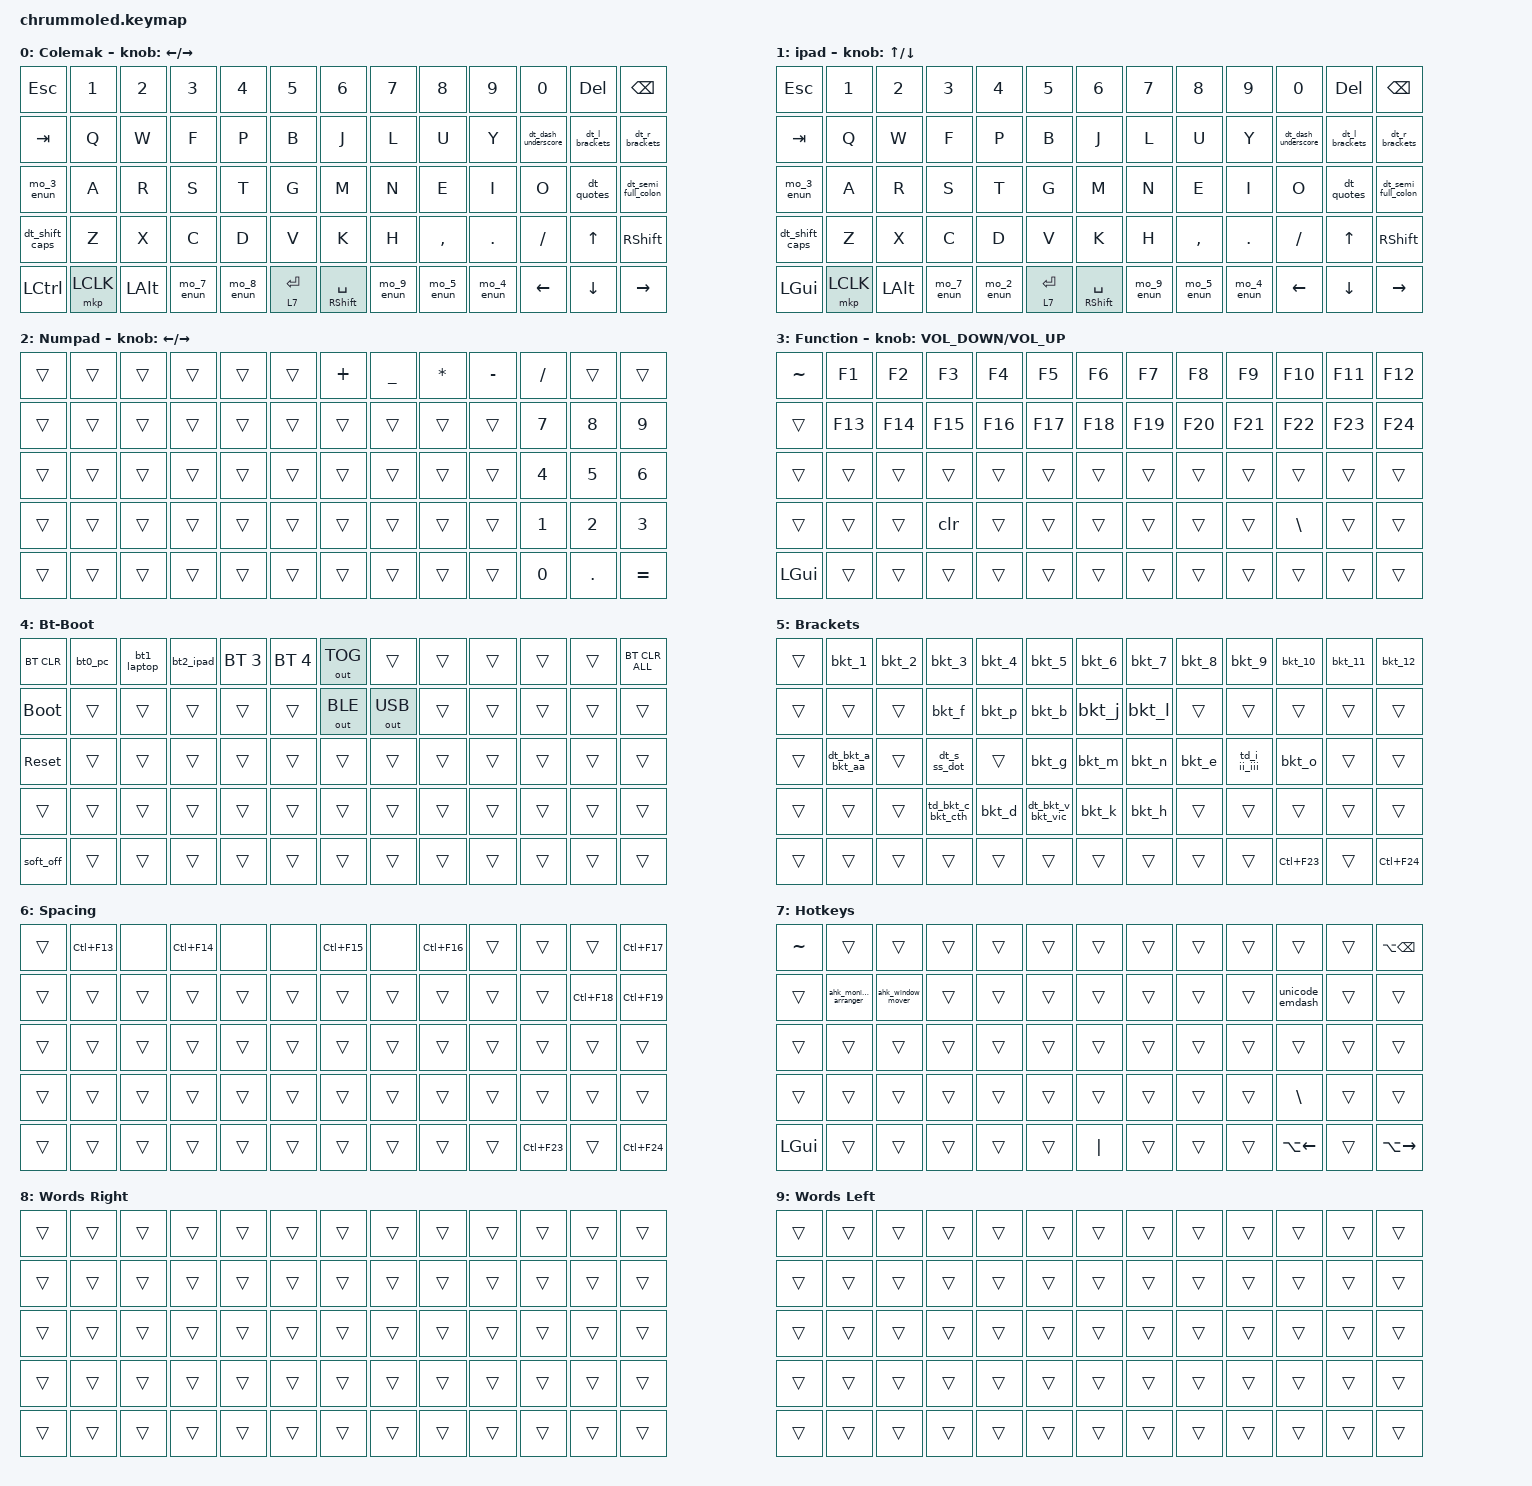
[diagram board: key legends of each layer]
/*
 * Copyright (c) 2021 The ZMK Contributors
 *
 * SPDX-License-Identifier: MIT
 */

#include <behaviors.dtsi>
#include <dt-bindings/zmk/bt.h>
#include <dt-bindings/zmk/keys.h>
#include <dt-bindings/zmk/outputs.h>
#include <dt-bindings/zmk/pointing.h>

/ {
    behaviors {
        dt_s_ss_dot: ss {
            compatible = "zmk,behavior-tap-dance";
            #binding-cells = <0>;
            tapping-term-ms = <200>;
            label = "td_s_ss_dot";
            bindings = <&s_dot>, <&ss_dot>;
        };

        rot_kp: sensor_rotate_kp {
            compatible = "zmk,behavior-sensor-rotate-var";
            #sensor-binding-cells = <2>;
            bindings = <&kp>, <&kp>;
        };

        hold_2_mo_kp: hold_2_mo_kp {
            compatible = "zmk,behavior-hold-tap";
            label = "HOLD_2_MO_KP";
            #binding-cells = <2>;
            bindings = <&mo>, <&kp>;

            tapping-term-ms = <250>;
            flavor = "tap-preferred";
        };

        del_backspace: del_backspace {
            compatible = "zmk,behavior-mod-morph";
            label = "DEL_BACKSPACE";
            bindings = <&kp DELETE>, <&kp BACKSPACE>;

            #binding-cells = <0>;
            mods = <(MOD_LSFT)>;
        };

        hold_3_mo_tl: hold_3_mo_tl {
            compatible = "zmk,behavior-hold-tap";
            label = "HOLD_3_MO_TL";
            #binding-cells = <2>;
            bindings = <&mo>, <&tog>;

            tapping-term-ms = <250>;
            flavor = "tap-preferred";
        };

        td_i_ii_iii: td_i_ii_iii {
            compatible = "zmk,behavior-tap-dance";
            #binding-cells = <0>;
            tapping-term-ms = <200>;
            label = "TD_I_II_III";
            bindings =
                <&bkt_i>,
                <&bkt_ii>,
                <&bkt_iii>,
                <&bkt_iv>,
                <&bkt_v_roman>,
                <&bkt_vi>;
        };

        hold_1_kp_kp: hold_1_kp_kp {
            compatible = "zmk,behavior-hold-tap";
            label = "HOLD_1_KP_KP";
            #binding-cells = <2>;
            bindings = <&kp>, <&kp>;

            tapping-term-ms = <300>;
            flavor = "tap-preferred";
        };

        hold_space_shift: hold_space_shift {
            compatible = "zmk,behavior-hold-tap";
            label = "HOLD_SPACE_SHIFT";
            #binding-cells = <2>;
            bindings = <&kp>, <&kp>;

            tapping-term-ms = <200>;
            quick-tap-ms = <0>;      /* ← this is the fix */
            flavor = "hold-preferred";
        };

        hold_enter_hotkey: hold_enter_hotkey {
            compatible = "zmk,behavior-hold-tap";
            label = "HOLD_ENTER_HOTKEY";
            #binding-cells = <2>;

            /* Hold = momentary layer, Tap = key press */

            bindings = <&mo>, <&kp>;

            flavor = "tap-preferred";
            tapping-term-ms = <220>;
            require-prior-idle-ms = <125>;
        };

        dt_quotes: dt_quotes {
            compatible = "zmk,behavior-tap-dance";
            label = "DT_QUOTES";
            #binding-cells = <0>;
            bindings = <&kp SINGLE_QUOTE>, <&kp DOUBLE_QUOTES>;
        };

        dt_dash_underscore: dt_dash_underscore {
            compatible = "zmk,behavior-tap-dance";
            label = "DT_DASH_UNDERSCORE";
            #binding-cells = <0>;
            bindings = <&kp KP_MINUS>, <&kp UNDER>;
        };

        dt_l_brackets: dt_l_brackets {
            compatible = "zmk,behavior-tap-dance";
            label = "DT_L_BRACKETS";
            #binding-cells = <0>;
            bindings = <&kp LEFT_PARENTHESIS>, <&kp LBKT>, <&kp LEFT_BRACE>;

            tapping-term-ms = <200>;
        };

        dt_shift_caps: dt_shift_caps {
            compatible = "zmk,behavior-tap-dance";
            label = "DT_SHIFT_CAPS";
            #binding-cells = <0>;
            bindings = <&sk LEFT_SHIFT>, <&kp CAPS>;
        };

        dt_semi_full_colon: dt_semi_full_colon {
            compatible = "zmk,behavior-tap-dance";
            label = "DT_SEMI_FULL_COLON";
            #binding-cells = <0>;
            bindings = <&kp SEMI>, <&kp COLON>;
        };

        dt_6_dash: dt_6_dash {
            compatible = "zmk,behavior-tap-dance";
            label = "DT_6_DASH";
            #binding-cells = <0>;
            bindings = <&kp NUMBER_6>, <&kp MINUS>;

            tapping-term-ms = <160>;
        };

        dt_1_fslash: dt_1_fslash {
            compatible = "zmk,behavior-tap-dance";
            label = "DT_1_FSLASH";
            #binding-cells = <0>;
            bindings = <&kp NUMBER_1>, <&kp SLASH>;

            tapping-term-ms = <160>;
        };

        dt_r_brackets: dt_r_brackets {
            compatible = "zmk,behavior-tap-dance";
            label = "DT_R_BRACKETS";
            #binding-cells = <0>;
            bindings =
                <&kp RIGHT_PARENTHESIS>,
                <&kp RIGHT_BRACKET>,
                <&kp RIGHT_BRACE>;

            tapping-term-ms = <200>;
        };

        td_bkt_c_bkt_cth: td_bkt_c_bkt_cth {
            compatible = "zmk,behavior-tap-dance";
            label = "TD_BKT_C_BKT_CTH";
            #binding-cells = <0>;
            bindings = <&bkt_c>, <&bkt_Cth>;
        };

        dt_bkt_v_bkt_vic: dt_bkt_v_bkt_vic {
            compatible = "zmk,behavior-tap-dance";
            label = "DT_BKT_V_BKT_VIC";
            #binding-cells = <0>;
            bindings = <&bkt_v_roman>, <&bkt_Vic>;
        };

        hold_caps_shift: hold_caps_shift {
            compatible = "zmk,behavior-hold-tap";
            label = "HOLD_CAPS_SHIFT";
            #binding-cells = <2>;
            bindings = <&kp>, <&sk>;

            tapping-term-ms = <250>;
            flavor = "tap-preferred";
        };

        dt_bkt_a_bkt_aa: dt_bkt_a_bkt_aa {
            compatible = "zmk,behavior-tap-dance";
            #binding-cells = <0>;
            tapping-term-ms = <200>;
            label = "DT_BKT_A_BKT_AA";
            bindings = <&bkt_a>, <&bkt_aa>;
        };
    };

    macros {
        s_dot: s_dot {
            compatible = "zmk,behavior-macro";
            #binding-cells = <0>;
            bindings = <&none &kp S &kp SPACE>;
            label = "SS";
        };

        ss_dot: ss_dot {
            compatible = "zmk,behavior-macro";
            #binding-cells = <0>;
            bindings = <&none &kp S &kp S &kp SPACE>;
            label = "S_DOT";
        };

        bkt_1: bkt_1 {
            compatible = "zmk,behavior-macro";
            #binding-cells = <0>;
            bindings = <&none &kp LEFT_PARENTHESIS &kp NUMBER_1 &kp RIGHT_PARENTHESIS>;
            label = "BKT_1";
        };

        bkt_2: bkt_2 {
            compatible = "zmk,behavior-macro";
            #binding-cells = <0>;
            bindings = <&none &kp LEFT_PARENTHESIS &kp NUMBER_2 &kp RIGHT_PARENTHESIS>;
            label = "BKT_2";
        };

        bkt_3: bkt_3 {
            compatible = "zmk,behavior-macro";
            #binding-cells = <0>;
            bindings = <&none &kp LEFT_PARENTHESIS &kp NUMBER_3 &kp RIGHT_PARENTHESIS>;
            label = "BKT_3";
        };

        bkt_4: bkt_4 {
            compatible = "zmk,behavior-macro";
            #binding-cells = <0>;
            bindings = <&none &kp LEFT_PARENTHESIS &kp NUMBER_4 &kp RIGHT_PARENTHESIS>;
            label = "BKT_4";
        };

        bkt_5: bkt_5 {
            compatible = "zmk,behavior-macro";
            #binding-cells = <0>;
            bindings = <&none &kp LEFT_PARENTHESIS &kp N5 &kp RIGHT_PARENTHESIS>;
            label = "BKT_5";
        };

        bkt_6: bkt_6 {
            compatible = "zmk,behavior-macro";
            #binding-cells = <0>;
            bindings = <&none &kp LEFT_PARENTHESIS &kp NUMBER_6 &kp RIGHT_PARENTHESIS>;
            label = "BKT_6";
        };

        bkt_7: bkt_7 {
            compatible = "zmk,behavior-macro";
            #binding-cells = <0>;
            bindings = <&none &kp LEFT_PARENTHESIS &kp N7 &kp RIGHT_PARENTHESIS>;
            label = "BKT_7";
        };

        bkt_8: bkt_8 {
            compatible = "zmk,behavior-macro";
            #binding-cells = <0>;
            bindings = <&none &kp LEFT_PARENTHESIS &kp NUMBER_8 &kp RIGHT_PARENTHESIS &kp SPACE>;
            label = "BKT_8";
        };

        bkt_9: bkt_9 {
            compatible = "zmk,behavior-macro";
            #binding-cells = <0>;
            bindings = <&none &kp LEFT_PARENTHESIS &kp N9 &kp RIGHT_PARENTHESIS>;
            label = "BKT_9";
        };

        bkt_10: bkt_10 {
            compatible = "zmk,behavior-macro";
            #binding-cells = <0>;
            bindings = <&none &kp LEFT_PARENTHESIS &kp NUMBER_1 &kp N0 &kp RIGHT_PARENTHESIS>;
            label = "BKT_10";
        };

        bkt_11: bkt_11 {
            compatible = "zmk,behavior-macro";
            #binding-cells = <0>;
            bindings = <&none &kp LEFT_PARENTHESIS &kp NUMBER_1 &kp NUMBER_1 &kp RIGHT_PARENTHESIS>;
            label = "BKT_11";
        };

        bkt_12: bkt_12 {
            compatible = "zmk,behavior-macro";
            #binding-cells = <0>;
            bindings = <&none &kp LEFT_PARENTHESIS &kp NUMBER_1 &kp NUMBER_2 &kp RIGHT_PARENTHESIS>;
            label = "BKT_12";
        };

        bkt_a: bkt_a {
            compatible = "zmk,behavior-macro";
            #binding-cells = <0>;
            bindings = <&none &kp LEFT_PARENTHESIS &kp A &kp RIGHT_PARENTHESIS>;
            label = "BKT_A";
        };

        bkt_b: bkt_b {
            compatible = "zmk,behavior-macro";
            #binding-cells = <0>;
            bindings = <&none &kp LEFT_PARENTHESIS &kp B &kp RIGHT_PARENTHESIS>;
            label = "BKT_B";
        };

        bkt_c: bkt_c {
            compatible = "zmk,behavior-macro";
            #binding-cells = <0>;
            bindings = <&none &kp LEFT_PARENTHESIS &kp C &kp RIGHT_PARENTHESIS>;
            label = "BKT_C";
        };

        bkt_d: bkt_d {
            compatible = "zmk,behavior-macro";
            #binding-cells = <0>;
            bindings = <&none &kp LEFT_PARENTHESIS &kp D &kp RIGHT_PARENTHESIS>;
            label = "BKT_D";
        };

        bkt_e: bkt_e {
            compatible = "zmk,behavior-macro";
            #binding-cells = <0>;
            bindings = <&none &kp LEFT_PARENTHESIS &kp E &kp RIGHT_PARENTHESIS>;
            label = "BKT_E";
        };

        bkt_f: bkt_f {
            compatible = "zmk,behavior-macro";
            #binding-cells = <0>;
            bindings = <&none &kp LEFT_PARENTHESIS &kp F &kp RIGHT_PARENTHESIS>;
            label = "BKT_F";
        };

        bkt_g: bkt_g {
            compatible = "zmk,behavior-macro";
            #binding-cells = <0>;
            bindings = <&none &kp LEFT_PARENTHESIS &kp G &kp RIGHT_PARENTHESIS>;
            label = "BKT_G";
        };

        bkt_h: bkt_h {
            compatible = "zmk,behavior-macro";
            #binding-cells = <0>;
            bindings = <&none &kp LEFT_PARENTHESIS &kp H &kp RIGHT_PARENTHESIS>;
            label = "BKT_H";
        };

        bkt_i: bkt_i {
            compatible = "zmk,behavior-macro";
            #binding-cells = <0>;
            bindings = <&none &kp LEFT_PARENTHESIS &kp I &kp RIGHT_PARENTHESIS>;
            label = "BKT_I";
        };

        bkt_ii: bkt_ii {
            compatible = "zmk,behavior-macro";
            #binding-cells = <0>;
            bindings = <&none &kp LEFT_PARENTHESIS &kp I &kp I &kp RIGHT_PARENTHESIS>;
            label = "BKT_II";
        };

        bkt_iii: bkt_iii {
            compatible = "zmk,behavior-macro";
            #binding-cells = <0>;
            bindings = <&none &kp LEFT_PARENTHESIS &kp I &kp I &kp I &kp RIGHT_PARENTHESIS>;
            label = "BKT_III";
        };

        bkt_iv: bkt_iv {
            compatible = "zmk,behavior-macro";
            #binding-cells = <0>;
            bindings = <&none &kp LEFT_PARENTHESIS &kp I &kp V &kp RIGHT_PARENTHESIS>;
            label = "BKT_IV";
        };

        bkt_v_roman: bkt_v_roman {
            compatible = "zmk,behavior-macro";
            #binding-cells = <0>;
            bindings = <&none &kp LEFT_PARENTHESIS &kp V &kp RIGHT_PARENTHESIS>;
            label = "BKT_V_ROMAN";
        };

        bkt_vi: bkt_vi {
            compatible = "zmk,behavior-macro";
            #binding-cells = <0>;
            bindings = <&none &kp LEFT_PARENTHESIS &kp V &kp I &kp RIGHT_PARENTHESIS>;
            label = "BKT_VI";
        };

        bkt_j: bkt_j {
            compatible = "zmk,behavior-macro";
            #binding-cells = <0>;
            bindings = <&none &kp LEFT_PARENTHESIS &kp J &kp RIGHT_PARENTHESIS>;
            label = "BKT_J";
        };

        bkt_k: bkt_k {
            compatible = "zmk,behavior-macro";
            #binding-cells = <0>;
            bindings = <&none &kp LEFT_PARENTHESIS &kp K &kp RIGHT_PARENTHESIS>;
            label = "BKT_K";
        };

        bkt_Vic: bkt_Vic {
            compatible = "zmk,behavior-macro";
            #binding-cells = <0>;
            bindings = <&none &kp LEFT_PARENTHESIS &kp LS(V) &kp I &kp C &kp RIGHT_PARENTHESIS &kp SPACE>;
            label = "BKT_VIC";
        };

        kp_13: kp_13 {
            compatible = "zmk,behavior-macro";
            #binding-cells = <0>;
            bindings = <&none &kp LEFT_PARENTHESIS &kp NUMBER_1 &kp NUMBER_3 &kp RIGHT_PARENTHESIS>;
            label = "KP_13";
        };

        kp_14: kp_14 {
            compatible = "zmk,behavior-macro";
            #binding-cells = <0>;
            bindings = <&none &kp LEFT_PARENTHESIS &kp NUMBER_1 &kp NUMBER_4 &kp RIGHT_PARENTHESIS>;
            label = "KP_14";
        };

        kp_15: kp_15 {
            compatible = "zmk,behavior-macro";
            #binding-cells = <0>;
            bindings = <&none &kp LEFT_PARENTHESIS &kp NUMBER_1 &kp N5 &kp RIGHT_PARENTHESIS>;
            label = "KP_15";
        };

        kp_16: kp_16 {
            compatible = "zmk,behavior-macro";
            #binding-cells = <0>;
            bindings = <&none &kp LEFT_PARENTHESIS &kp NUMBER_1 &kp NUMBER_6 &kp RIGHT_PARENTHESIS>;
            label = "KP_16";
        };

        kp_17: kp_17 {
            compatible = "zmk,behavior-macro";
            #binding-cells = <0>;
            bindings = <&none &kp LEFT_PARENTHESIS &kp NUMBER_1 &kp N7 &kp RIGHT_PARENTHESIS>;
            label = "KP_17";
        };

        kp_18: kp_18 {
            compatible = "zmk,behavior-macro";
            #binding-cells = <0>;
            bindings = <&none &kp LEFT_PARENTHESIS &kp NUMBER_1 &kp N8 &kp RIGHT_PARENTHESIS>;
            label = "KP_18";
        };

        kp_19: kp_19 {
            compatible = "zmk,behavior-macro";
            #binding-cells = <0>;
            bindings = <&none &kp LEFT_PARENTHESIS &kp NUMBER_1 &kp N9 &kp RIGHT_PARENTHESIS>;
            label = "KP_19";
        };

        kp_20: kp_20 {
            compatible = "zmk,behavior-macro";
            #binding-cells = <0>;
            bindings = <&none &kp LEFT_PARENTHESIS &kp NUMBER_2 &kp N0 &kp RIGHT_PARENTHESIS>;
            label = "KP_20";
        };

        kp_21: kp_21 {
            compatible = "zmk,behavior-macro";
            #binding-cells = <0>;
            bindings = <&none &kp LEFT_PARENTHESIS &kp NUMBER_2 &kp NUMBER_1 &kp RIGHT_PARENTHESIS>;
            label = "KP_21";
        };

        kp_22: kp_22 {
            compatible = "zmk,behavior-macro";
            #binding-cells = <0>;
            bindings = <&none &kp LEFT_PARENTHESIS &kp NUMBER_2 &kp NUMBER_2 &kp RIGHT_PARENTHESIS>;
            label = "KP_22";
        };

        kp_23: kp_23 {
            compatible = "zmk,behavior-macro";
            #binding-cells = <0>;
            bindings = <&none &kp LEFT_PARENTHESIS &kp NUMBER_2 &kp NUMBER_3 &kp RIGHT_PARENTHESIS>;
            label = "KP_23";
        };

        kp_24: kp_24 {
            compatible = "zmk,behavior-macro";
            #binding-cells = <0>;
            bindings = <&none &kp LEFT_PARENTHESIS &kp NUMBER_2 &kp NUMBER_4 &kp RIGHT_PARENTHESIS>;
            label = "KP_24";
        };

        bkt_Cth: bkt_cth {
            compatible = "zmk,behavior-macro";
            #binding-cells = <0>;
            bindings = <&none &kp LEFT_PARENTHESIS &kp LS(C) &kp T &kp H &kp RIGHT_PARENTHESIS &kp SPACE>;
            label = "BKT_CTH";
        };

        bkt_v: bkt_v {
            compatible = "zmk,behavior-macro";
            #binding-cells = <0>;
            bindings = <&none &kp LEFT_PARENTHESIS &kp V &kp RIGHT_PARENTHESIS>;
            label = "BKT_V";
        };

        clr: clr {
            compatible = "zmk,behavior-macro";
            #binding-cells = <0>;
            bindings = <&none &kp LS(C) &kp LS(L) &kp LS(R) &kp SPACE>;
            label = "CLR";
        };

        gbp: gbp {
            compatible = "zmk,behavior-macro";
            #binding-cells = <0>;
            bindings =
                <&macro_press>,
                <&kp LEFT_ALT>,
                <&macro_tap>,
                <&kp KP_NUMBER_0 &kp KP_NUMBER_1 &kp KP_NUMBER_6 &kp KP_NUMBER_3>,
                <&macro_release>,
                <&kp LEFT_ALT>,
                <&macro_tap>;

            label = "GBP";
        };

        bkt_l: bkt_l {
            compatible = "zmk,behavior-macro";
            #binding-cells = <0>;
            bindings = <&none &kp LEFT_PARENTHESIS &kp L &kp RIGHT_PARENTHESIS>;
            label = "BKT_L";
        };

        bkt_m: bkt_m {
            compatible = "zmk,behavior-macro";
            #binding-cells = <0>;
            bindings = <&none &kp LEFT_PARENTHESIS &kp M &kp RIGHT_PARENTHESIS>;
            label = "BKT_M";
        };

        bkt_n: bkt_n {
            compatible = "zmk,behavior-macro";
            #binding-cells = <0>;
            bindings = <&none &kp LEFT_PARENTHESIS &kp J &kp RIGHT_PARENTHESIS>;
            label = "BKT_N";
        };

        bkt_o: bkt_o {
            compatible = "zmk,behavior-macro";
            #binding-cells = <0>;
            bindings = <&none &kp LEFT_PARENTHESIS &kp O &kp RIGHT_PARENTHESIS>;
            label = "BKT_O";
        };

        bkt_p: bkt_p {
            compatible = "zmk,behavior-macro";
            #binding-cells = <0>;
            bindings = <&none &kp LEFT_PARENTHESIS &kp P &kp RIGHT_PARENTHESIS>;
            label = "BKT_P";
        };

        bkt_aa: bkt_aa {
            compatible = "zmk,behavior-macro";
            #binding-cells = <0>;
            bindings = <&none &kp LEFT_PARENTHESIS &kp A &kp A &kp RIGHT_PARENTHESIS>;
            label = "BKT_AA";
        };

        mo_2_enun: mo_2_enun {
            compatible = "zmk,behavior-macro";
            #binding-cells = <0>;
            wait-ms = <0>;
            tap-ms = <0>;
            bindings =
                <&macro_tap>,
                <&kp LG(LC(LA(F14)))>,
                <&macro_press>,
                <&mo 2>,
                <&macro_pause_for_release>,
                <&macro_release>,
                <&kp LG(LC(LA(F14))) &mo 2>,
                <&macro_tap>;

            label = "MO_2_ENUN";
        };

        mo_3_enun: mo_3_enun {
            compatible = "zmk,behavior-macro";
            #binding-cells = <0>;
            wait-ms = <0>;
            tap-ms = <0>;
            bindings =
                <&macro_tap>,
                <&kp LG(LC(LA(F15)))>,
                <&macro_press>,
                <&mo 3>,
                <&macro_pause_for_release>,
                <&macro_release>,
                <&kp LG(LC(LA(F15))) &mo 3>,
                <&macro_tap>;

            label = "MO_3_ENUN";
        };

        mo_4_enun: mo_4_enun {
            compatible = "zmk,behavior-macro";
            #binding-cells = <0>;
            wait-ms = <0>;
            tap-ms = <0>;
            bindings =
                <&macro_tap>,
                <&kp LG(LC(LA(F17)))>,
                <&macro_press>,
                <&mo 4>,
                <&macro_pause_for_release>,
                <&macro_release>,
                <&kp LG(LC(LA(F17))) &mo 4>,
                <&macro_tap>;

            label = "MO_4_ENUN";
        };

        mo_5_enun: mo_5_enun {
            compatible = "zmk,behavior-macro";
            #binding-cells = <0>;
            wait-ms = <0>;
            tap-ms = <0>;
            bindings =
                <&macro_tap>,
                <&kp LG(LC(LA(F18)))>,
                <&macro_press>,
                <&mo 5>,
                <&macro_pause_for_release>,
                <&macro_release>,
                <&kp LG(LC(LA(F18))) &mo 5>,
                <&macro_tap>;

            label = "MO_5_ENUN";
        };

        mo_6_enun: mo_6_enun {
            compatible = "zmk,behavior-macro";
            #binding-cells = <0>;
            wait-ms = <0>;
            tap-ms = <0>;
            bindings =
                <&macro_tap>,
                <&kp LG(LC(LA(F19)))>,
                <&macro_press>,
                <&mo 6>,
                <&macro_pause_for_release>,
                <&macro_release>,
                <&kp LG(LC(LA(F19))) &mo 6>,
                <&macro_tap>;

            label = "MO_6_ENUN";
        };

        mo_7_enun: mo_7_enun {
            compatible = "zmk,behavior-macro";
            #binding-cells = <0>;
            wait-ms = <0>;
            tap-ms = <0>;
            bindings =
                <&macro_tap>,
                <&kp LG(LC(LA(F13)))>,
                <&macro_press>,
                <&mo 7>,
                <&macro_pause_for_release>,
                <&macro_release>,
                <&kp LG(LC(LA(F13))) &mo 7>,
                <&macro_tap>;

            label = "MO_7_ENUN";
        };

        mo_8_enun: mo_8_enun {
            compatible = "zmk,behavior-macro";
            #binding-cells = <0>;
            wait-ms = <0>;
            tap-ms = <0>;
            bindings =
                <&macro_tap>,
                <&kp LG(LC(LA(F20)))>,
                <&macro_press>,
                <&mo 8>,
                <&macro_pause_for_release>,
                <&macro_release>,
                <&kp LG(LC(LA(F20))) &mo 8>,
                <&macro_tap>;

            label = "MO_8_ENUN";
        };

        mo_9_enun: mo_9_enun {
            compatible = "zmk,behavior-macro";
            #binding-cells = <0>;
            wait-ms = <0>;
            tap-ms = <0>;
            bindings =
                <&macro_tap>,
                <&kp LG(LC(LA(F21)))>,
                <&macro_press>,
                <&mo 9>,
                <&macro_pause_for_release>,
                <&macro_release>,
                <&kp LG(LC(LA(F21))) &mo 9>,
                <&macro_tap>;

            label = "MO_9_ENUN";
        };

        unicode_emdash: unicode_emdash {
            compatible = "zmk,behavior-macro";
            #binding-cells = <0>;
            wait-ms = <40>;
            tap-ms = <40>;
            bindings =
                <&macro_press>,
                <&kp LALT>,
                <&macro_tap>,
                <&kp KP_N0 &kp KP_N1 &kp KP_N5 &kp KP_N1>,
                <&macro_release>,
                <&kp LALT>;

            label = "UNICODE_EMDASH";
        };

        dash_list: dash_list {
            compatible = "zmk,behavior-macro";
            #binding-cells = <0>;
            bindings = <&kp LA(F18)>;
            label = "DASH_LIST";
        };

        dot_list: dot_list {
            compatible = "zmk,behavior-macro";
            #binding-cells = <0>;
            bindings = <&kp LA(F19)>;
            label = "DOT_LIST";
        };

        alpha_dash_list: alpha_dash_list {
            compatible = "zmk,behavior-macro";
            #binding-cells = <0>;
            bindings = <&kp LA(A)>;
            label = "ALPHA_DASH_LIST";
        };

        num_dash_list: num_dash_list {
            compatible = "zmk,behavior-macro";
            #binding-cells = <0>;
            bindings = <&kp LA(Y)>;
            label = "NUM_DASH_LIST";
        };

        statute_list: statute_list {
            compatible = "zmk,behavior-macro";
            #binding-cells = <0>;
            bindings = <&kp LA(S)>;
            label = "STATUTE_LIST";
        };

        statute_list_2: statute_list_2 {
            compatible = "zmk,behavior-macro";
            #binding-cells = <0>;
            bindings = <&kp LA(R)>;
            label = "STATUTE_LIST_2";
        };

        list_A_1_i: list_A_1_i {
            compatible = "zmk,behavior-macro";
            #binding-cells = <0>;
            bindings = <&kp LA(LC(A))>;
            label = "LIST_A_1_I";
        };

        clear_formatting: clear_formatting {
            compatible = "zmk,behavior-macro";
            #binding-cells = <0>;
            bindings = <&kp LC(S)>;
            label = "CLEAR_FORMATTING";
        };

        safe_paste: safe_paste {
            compatible = "zmk,behavior-macro";
            #binding-cells = <0>;
            bindings = <&kp LC(LA(T))>;
            label = "SAFE_PASTE";
        };

        indent_left: indent_left {
            compatible = "zmk,behavior-macro";
            #binding-cells = <0>;
            bindings = <&kp LC(F23)>;
            label = "INDENT_LEFT";
        };

        indent_right: indent_right {
            compatible = "zmk,behavior-macro";
            #binding-cells = <0>;
            bindings = <&kp LC(F24)>;
            label = "INDENT_RIGHT";
        };

        quotes: quotes {
            compatible = "zmk,behavior-macro";
            #binding-cells = <0>;
            bindings = <&kp LC(LA(W))>;
            label = "QUOTES";
        };

        square_brackets: square_brackets {
            compatible = "zmk,behavior-macro";
            #binding-cells = <0>;
            bindings = <&kp LC(LA(LEFT_BRACKET))>;
            label = "SQUARE_BRACKETS";
        };

        brackets: brackets {
            compatible = "zmk,behavior-macro";
            #binding-cells = <0>;
            bindings = <&kp LC(LA(N9))>;
            label = "BRACKETS";
        };

        caps: caps {
            compatible = "zmk,behavior-macro";
            #binding-cells = <0>;
            bindings = <&kp LS(F3)>;
            label = "CAPS";
        };

        underline: underline {
            compatible = "zmk,behavior-macro";
            #binding-cells = <0>;
            bindings = <&kp LC(U)>;
            label = "UNDERLINE";
        };

        bold: bold {
            compatible = "zmk,behavior-macro";
            #binding-cells = <0>;
            bindings = <&kp LC(B)>;
            label = "BOLD";
        };

        italic: italic {
            compatible = "zmk,behavior-macro";
            #binding-cells = <0>;
            bindings = <&kp LC(I)>;
            label = "ITALIC";
        };

        highlight: highlight {
            compatible = "zmk,behavior-macro";
            #binding-cells = <0>;
            bindings = <&kp LC(LA(H))>;
            label = "HIGHLIGHT";
        };

        key_point: key_point {
            compatible = "zmk,behavior-macro";
            #binding-cells = <0>;
            bindings = <&kp LA(LC(I))>;
            label = "KEY_POINT";
        };

        euro: euro {
            compatible = "zmk,behavior-macro";
            #binding-cells = <0>;
            bindings =
                <&macro_press>,
                <&kp LEFT_ALT>,
                <&macro_tap>,
                <&kp KP_NUMBER_8 &kp KP_NUMBER_3 &kp KP_NUMBER_6 &kp KP_NUMBER_4>,
                <&macro_release>,
                <&kp LEFT_ALT>;

            label = "EURO";
        };

        fix_paras_in_copied_text: fix_paras_in_copied_text {
            compatible = "zmk,behavior-macro";
            #binding-cells = <0>;
            bindings = <&kp SPACE &kp DELETE>;
            label = "FIX_PARAS_IN_COPIED_TEXT";
        };

        bt0_pc: bt_sel_0 {
            compatible = "zmk,behavior-macro";
            #binding-cells = <0>;
            bindings = <&bt BT_SEL 0 &to 0>;
            label = "BT_SEL_0";
        };

        bt1_laptop: bt_sel_1 {
            compatible = "zmk,behavior-macro";
            #binding-cells = <0>;
            bindings = <&bt BT_SEL 1 &to 0>;
            label = "BT_SEL_1";
        };

        bt2_ipad: bt_ipad {
            compatible = "zmk,behavior-macro";
            #binding-cells = <0>;
            bindings = <&bt BT_SEL 2 &to 1>;
            label = "BT_IPAD";
        };

        ahk_monitor_arranger: ahk_monitor_arranger {
            compatible = "zmk,behavior-macro";
            #binding-cells = <0>;
            bindings = <&kp LC(LG(AT))>;
            label = "AHK_MONITOR_ARRANGER";
        };

        ahk_window_mover: ahk_window_mover {
            compatible = "zmk,behavior-macro";
            #binding-cells = <0>;
            bindings = <&kp LS(LC(LG(PERCENT)))>;
            label = "AHK_WINDOW_MOVER";
        };
    };

    combos {
        compatible = "zmk,combos";

        chord_colon {
            bindings = <&kp COLON>;
            key-positions = <>;
            timeout-ms = <30>;
            layers = <1 0>;
        };

        chord_dash {
            bindings = <&kp MINUS>;
            key-positions = <>;
            timeout-ms = <30>;
            layers = <0>;
        };

        chord_quote {
            bindings = <&kp SINGLE_QUOTE>;
            key-positions = <>;
            timeout-ms = <30>;
            layers = <0 1>;
        };

        chord_equals {
            bindings = <&kp EQUAL>;
            key-positions = <63 64>;
            timeout-ms = <30>;
            layers = <0 1>;
        };

        chord_plus {
            bindings = <&kp PLUS>;
            key-positions = <11 12>;
            layers = <0 1>;
        };

        chord_forwardslash {
            bindings = <&kp FSLH>;
            key-positions = <>;
            timeout-ms = <30>;
            layers = <0 1>;
        };

        chord_asterisk {
            bindings = <&kp ASTERISK>;
            key-positions = <8 9>;
            timeout-ms = <30>;
            layers = <0 1>;
        };

        chord_questionmark {
            bindings = <&kp QUESTION>;
            key-positions = <6 7>;
            timeout-ms = <30>;
            layers = <0 1>;
        };

        chord_leftbracket {
            bindings = <&kp LEFT_PARENTHESIS>;
            key-positions = <>;
            timeout-ms = <30>;
            layers = <0 1>;
        };

        chord_rightbracket {
            bindings = <&kp RIGHT_PARENTHESIS>;
            key-positions = <>;
            timeout-ms = <30>;
            layers = <0 1>;
        };

        chord_underscore {
            bindings = <&kp UNDER>;
            key-positions = <>;
            timeout-ms = <30>;
            layers = <0 1>;
        };

        chord_doublequotes {
            bindings = <&kp DOUBLE_QUOTES>;
            key-positions = <>;
            timeout-ms = <30>;
            layers = <0 1>;
        };

        chord_dash2 {
            bindings = <&kp MINUS>;
            key-positions = <>;
            timeout-ms = <30>;
            layers = <0 1>;
        };

        chord_forwardslash2 {
            bindings = <&kp SLASH>;
            key-positions = <>;
            timeout-ms = <30>;
            layers = <0 1>;
        };

        chord_exclamation {
            bindings = <&kp EXCLAMATION>;
            key-positions = <1 2>;
            timeout-ms = <30>;
            layers = <0 1>;
        };

        chord_ampersand {
            bindings = <&kp AMPERSAND>;
            key-positions = <7 8>;
            timeout-ms = <30>;
            layers = <0 1>;
        };

        indent_left {
            bindings = <&kp LC(F23)>;
            key-positions = <61 62>;
            timeout-ms = <30>;
            layers = <0>;
        };

        indent_right {
            bindings = <&kp LC(F24)>;
            key-positions = <62 63>;
            timeout-ms = <30>;
            layers = <0>;
        };

        chord_at {
            bindings = <&kp AT_SIGN>;
            key-positions = <2 3>;
            timeout-ms = <30>;
            layers = <0 1>;
        };

        chord_hash {
            bindings = <&kp HASH>;
            key-positions = <3 4>;
            timeout-ms = <30>;
            layers = <0 1>;
        };

        chord_dollar {
            bindings = <&kp DOLLAR>;
            key-positions = <4 5>;
            timeout-ms = <30>;
            layers = <0 1>;
        };

        chord_percent {
            bindings = <&kp PERCENT>;
            key-positions = <5 6>;
            timeout-ms = <30>;
            layers = <0 1>;
        };

        chord_euro {
            bindings = <&euro>;
            key-positions = <>;
            timeout-ms = <30>;
            layers = <0>;
        };

        chord_gbp {
            bindings = <&gbp>;
            key-positions = <>;
            timeout-ms = <30>;
            layers = <0>;
        };

        chord_back_slash {
            bindings = <&kp BACKSLASH>;
            key-positions = <>;
            timeout-ms = <30>;
            layers = <0 1>;
        };

        tog_colemak {
            bindings = <&tog 0>;
            key-positions = <30 31>;
            layers = <0 1>;
        };

        tog_ipad {
            bindings = <&tog 1>;
            key-positions = <44 43>;
            layers = <0 2>;
        };
    };

    keymap {
        compatible = "zmk,keymap";

        colemak_layer {
            label = "colemak_layer";
            display-name = "Colemak";

            // --------------------------------------------------------------------------------------------------
            // |  ESC  |  1   |  2   |  3   |  4   |  5   |   6   |  7    |  8   |  9   |   0   | MINUS |  DEL |
            // |  TAB  |  Q   |  W   |  F   |  P   |  B   |   J   |  L    |  U   |  Y   |   ;   | LBKT  |  RBKT |
            // |  MO 2 |  A   |  R   |  S   |  T   |  G   |   M   |  N    |  E   |  I   |   O   |  '    |  NUBS |
            // |  TD 0 |  Z   |  X   |  C   |  D   |  V   |   K   |  H    |  ,   |  .   |   /   |  UP   |  RSFT |
            // |  LCTR | EC11 | LALT | MO 1 | SPACE| ENTER| ENTER | SPACE | BSPC | MO 3 | LEFT  | DOWN  |  RIGHT|
            //            ** note - EC11 is the button in the ecll encoder

            bindings = <
&kp ESCAPE        &kp N1     &kp N2    &kp N3      &kp N4      &kp N5                      &kp N6                               &kp N7      &kp N8      &kp N9      &kp N0               &kp DELETE      &kp BACKSPACE
&kp TAB           &kp Q      &kp W     &kp F       &kp P       &kp B                       &kp J                                &kp L       &kp U       &kp Y       &dt_dash_underscore  &dt_l_brackets  &dt_r_brackets
&mo_3_enun        &kp A      &kp R     &kp S       &kp T       &kp G                       &kp M                                &kp N       &kp E       &kp I       &kp O                &dt_quotes      &dt_semi_full_colon
&dt_shift_caps    &kp Z      &kp X     &kp C       &kp D       &kp V                       &kp K                                &kp H       &kp COMMA   &kp DOT     &kp FSLH             &kp UP          &kp RIGHT_SHIFT
&kp LEFT_CONTROL  &mkp LCLK  &kp LALT  &mo_7_enun  &mo_8_enun  &hold_enter_hotkey 7 ENTER  &hold_space_shift RIGHT_SHIFT SPACE  &mo_9_enun  &mo_5_enun  &mo_4_enun  &kp LEFT             &kp DOWN        &kp RIGHT
            >;

            sensor-bindings = <&rot_kp LEFT RIGHT>;
        };

        iPad_Layer {
            label = "ipad_layer";
            display-name = "ipad";
            bindings = <
&kp ESCAPE      &kp N1     &kp N2    &kp N3      &kp N4      &kp N5                      &kp N6                               &kp N7      &kp N8      &kp N9      &kp N0               &kp DELETE      &kp BACKSPACE
&kp TAB         &kp Q      &kp W     &kp F       &kp P       &kp B                       &kp J                                &kp L       &kp U       &kp Y       &dt_dash_underscore  &dt_l_brackets  &dt_r_brackets
&mo_3_enun      &kp A      &kp R     &kp S       &kp T       &kp G                       &kp M                                &kp N       &kp E       &kp I       &kp O                &dt_quotes      &dt_semi_full_colon
&dt_shift_caps  &kp Z      &kp X     &kp C       &kp D       &kp V                       &kp K                                &kp H       &kp COMMA   &kp DOT     &kp FSLH             &kp UP          &kp RIGHT_SHIFT
&kp LGUI        &mkp LCLK  &kp LALT  &mo_7_enun  &mo_2_enun  &hold_enter_hotkey 7 ENTER  &hold_space_shift RIGHT_SHIFT SPACE  &mo_9_enun  &mo_5_enun  &mo_4_enun  &kp LEFT             &kp DOWN        &kp RIGHT
            >;

            sensor-bindings = <&rot_kp UP DOWN>;
        };

        numpad_layer {
            display-name = "Numpad";

            // -------------------------------------------------------------------------------------------------
            // |       |      |      |      |      |      |       |       |      |      |   /   |   =   |  +  |
            // |       |      |      |      |      |      |       |       |      |      |   7   |   8   |  9  |
            // |       |      |      |      |      |      |       |       |      |      |   4   |   5   |  6  |
            // |       |      |      |      |      |      |       |       |      |      |   1   |   2   |  3  |
            // |       |      |      |      |      |      |       |       |      |      |   0   |   .   |  =  |

            bindings = <
&trans  &trans  &trans  &trans  &trans  &trans  &kp PLUS  &kp UNDER  &kp ASTERISK  &kp MINUS  &kp SLASH     &trans        &trans
&trans  &trans  &trans  &trans  &trans  &trans  &trans    &trans     &trans        &trans     &kp NUMBER_7  &kp N8        &kp N9
&trans  &trans  &trans  &trans  &trans  &trans  &trans    &trans     &trans        &trans     &kp NUMBER_4  &kp N5        &kp NUMBER_6
&trans  &trans  &trans  &trans  &trans  &trans  &trans    &trans     &trans        &trans     &kp NUMBER_1  &kp NUMBER_2  &kp NUMBER_3
&trans  &trans  &trans  &trans  &trans  &trans  &trans    &trans     &trans        &trans     &kp N0        &kp PERIOD    &kp EQUAL
            >;

            sensor-bindings = <&rot_kp LEFT RIGHT>;
        };

        function_key_layer {
            display-name = "Function";

            // ---------------------------------------------------------------------------------------------
            // |       |  F1  |  F2  |  F3  |  F4  |  F5  |  F6   |  F7   |  F8  |  F9  |  F10  |  F11  |  F12  |
            // |       |      |      |      |      |      |       |       |      |      |       |       |       |
            // |       |      |      |      |      |      |       |       |      |      |       |       |       |
            // |       |      |      |      |      |      |       |       |      |      |       |       |       |
            // |       |      |      |      |      |      |       |       |      |      |       |       |       |

            bindings = <
&kp TILDE     &kp F1   &kp F2   &kp F3   &kp F4   &kp F5   &kp F6   &kp F7   &kp F8   &kp F9   &kp F10        &kp F11  &kp F12
&trans        &kp F13  &kp F14  &kp F15  &kp F16  &kp F17  &kp F18  &kp F19  &kp F20  &kp F21  &kp F22        &kp F23  &kp F24
&trans        &trans   &trans   &trans   &trans   &trans   &trans   &trans   &trans   &trans   &trans         &trans   &trans
&trans        &trans   &trans   &clr     &trans   &trans   &trans   &trans   &trans   &trans   &kp BACKSLASH  &trans   &trans
&kp LEFT_GUI  &trans   &trans   &trans   &trans   &trans   &trans   &trans   &trans   &trans   &trans         &trans   &trans
            >;

            sensor-bindings = <&rot_kp C_VOLUME_DOWN C_VOLUME_UP>;
        };

        bt_layer {
            display-name = "Bt-Boot";

            // --------------------------------------------------------------------------------------------------
            // |       |      |      |      |      |      |       |       |      |      |       |       |       |
            // |       |      |      |      |      |      |       |       |      |      |       |       |       |
            // |       |      |      |      |      |      |       |       |      |      |       |       |       |
            // |       |      |      |      |      |      |       |       |      |      |       |       |       |
            // |       |      |      |      |      |      |       |       |      |      |       |       |       |

            bindings = <
&bt BT_CLR   &bt0_pc  &bt1_laptop  &bt2_ipad  &bt BT_SEL 3  &bt BT_SEL 4  &out OUT_TOG  &trans        &trans  &trans  &trans  &trans  &bt BT_CLR_ALL
&bootloader  &trans   &trans       &trans     &trans        &trans        &out OUT_BLE  &out OUT_USB  &trans  &trans  &trans  &trans  &trans
&sys_reset   &trans   &trans       &trans     &trans        &trans        &trans        &trans        &trans  &trans  &trans  &trans  &trans
&trans       &trans   &trans       &trans     &trans        &trans        &trans        &trans        &trans  &trans  &trans  &trans  &trans
&soft_off    &trans   &trans       &trans     &trans        &trans        &trans        &trans        &trans  &trans  &trans  &trans  &trans
            >;
        };

        statute_sections {
            display-name = "Brackets";
            bindings = <
&trans  &bkt_1            &bkt_2  &bkt_3             &bkt_4  &bkt_5             &bkt_6  &bkt_7  &bkt_8  &bkt_9        &bkt_10      &bkt_11  &bkt_12
&trans  &trans            &trans  &bkt_f             &bkt_p  &bkt_b             &bkt_j  &bkt_l  &trans  &trans        &trans       &trans   &trans
&trans  &dt_bkt_a_bkt_aa  &trans  &dt_s_ss_dot       &trans  &bkt_g             &bkt_m  &bkt_n  &bkt_e  &td_i_ii_iii  &bkt_o       &trans   &trans
&trans  &trans            &trans  &td_bkt_c_bkt_cth  &bkt_d  &dt_bkt_v_bkt_vic  &bkt_k  &bkt_h  &trans  &trans        &trans       &trans   &trans
&trans  &trans            &trans  &trans             &trans  &trans             &trans  &trans  &trans  &trans        &kp LC(F23)  &trans   &kp LC(F24)
            >;
        };

        spacing-layer {
            display-name = "Spacing";
            bindings = <
&trans  &kp LC(F13)  &none   &kp LC(F14)  &none   &none   &kp LC(F15)  &none   &kp LC(F16)  &trans  &trans       &trans       &kp LC(F17)
&trans  &trans       &trans  &trans       &trans  &trans  &trans       &trans  &trans       &trans  &trans       &kp LC(F18)  &kp LC(F19)
&trans  &trans       &trans  &trans       &trans  &trans  &trans       &trans  &trans       &trans  &trans       &trans       &trans
&trans  &trans       &trans  &trans       &trans  &trans  &trans       &trans  &trans       &trans  &trans       &trans       &trans
&trans  &trans       &trans  &trans       &trans  &trans  &trans       &trans  &trans       &trans  &kp LC(F23)  &trans       &kp LC(F24)
            >;
        };

        Hotkey_layer {
            display-name = "Hotkeys";
            bindings = <
&kp TILDE     &trans                 &trans             &trans  &trans  &trans  &trans    &trans  &trans  &trans  &trans           &trans  &kp LA(BACKSPACE)
&trans        &ahk_monitor_arranger  &ahk_window_mover  &trans  &trans  &trans  &trans    &trans  &trans  &trans  &unicode_emdash  &trans  &trans
&trans        &trans                 &trans             &trans  &trans  &trans  &trans    &trans  &trans  &trans  &trans           &trans  &trans
&trans        &trans                 &trans             &trans  &trans  &trans  &trans    &trans  &trans  &trans  &kp BACKSLASH    &trans  &trans
&kp LEFT_GUI  &trans                 &trans             &trans  &trans  &trans  &kp PIPE  &trans  &trans  &trans  &kp LA(LEFT)     &trans  &kp LA(RIGHT)
            >;
        };

        words_right_side {
            label = "words_right_layer";
            display-name = "Words Right";
            bindings = <
&trans  &trans  &trans  &trans  &trans  &trans  &trans  &trans  &trans  &trans  &trans  &trans  &trans
&trans  &trans  &trans  &trans  &trans  &trans  &trans  &trans  &trans  &trans  &trans  &trans  &trans
&trans  &trans  &trans  &trans  &trans  &trans  &trans  &trans  &trans  &trans  &trans  &trans  &trans
&trans  &trans  &trans  &trans  &trans  &trans  &trans  &trans  &trans  &trans  &trans  &trans  &trans
&trans  &trans  &trans  &trans  &trans  &trans  &trans  &trans  &trans  &trans  &trans  &trans  &trans
            >;
        };

        words_left_side {
            label = "words_left_layer";
            display-name = "Words Left";
            bindings = <
&trans  &trans  &trans  &trans  &trans  &trans  &trans  &trans  &trans  &trans  &trans  &trans  &trans
&trans  &trans  &trans  &trans  &trans  &trans  &trans  &trans  &trans  &trans  &trans  &trans  &trans
&trans  &trans  &trans  &trans  &trans  &trans  &trans  &trans  &trans  &trans  &trans  &trans  &trans
&trans  &trans  &trans  &trans  &trans  &trans  &trans  &trans  &trans  &trans  &trans  &trans  &trans
&trans  &trans  &trans  &trans  &trans  &trans  &trans  &trans  &trans  &trans  &trans  &trans  &trans
            >;
        };
    };
};


